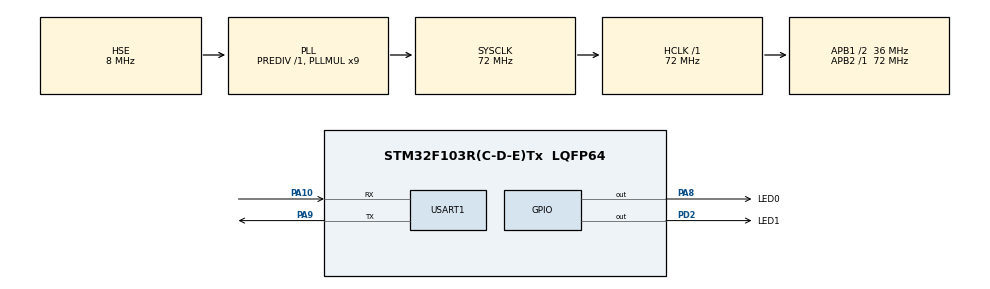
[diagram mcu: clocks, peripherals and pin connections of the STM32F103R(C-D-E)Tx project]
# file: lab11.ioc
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FREERTOS.BinarySemaphores01=bSem01,Dynamic,NULL
FREERTOS.CountingSemaphores01=cSemEmpty,4,Dynamic,NULL;cSemFilled,2,Dynamic,NULL
FREERTOS.Tasks01=periodic,0,128,PeriodicTask,Default,NULL,Dynamic,NULL,NULL;handle,-3,128,HandleTask,Default,NULL,Dynamic,NULL,NULL;Producer,0,128,FuncProducer,Default,NULL,Dynamic,NULL,NULL;Consumer,-1,128,FuncConsumer,Default,NULL,Dynamic,NULL,NULL
FREERTOS.configTOTAL_HEAP_SIZE=4096
FREERTOS.configUSE_COUNTING_SEMAPHORES=1
FREERTOS.configUSE_NEWLIB_REENTRANT=1
Mcu.Family=STM32F1
Mcu.Name=STM32F103R(C-D-E)Tx
Mcu.Package=LQFP64
NVIC.PriorityGroup=NVIC_PRIORITYGROUP_4
NVIC.TIM3_IRQn=true\:15\:0\:false\:false\:true\:false\:false\:true
NVIC.TimeBase=TIM3_IRQn
NVIC.TimeBaseIP=TIM3
PA10.Mode=Asynchronous
PA10.Signal=USART1_RX
PA13.Mode=Serial_Wire
PA13.Signal=SYS_JTMS-SWDIO
PA14.Mode=Serial_Wire
PA14.Signal=SYS_JTCK-SWCLK
PA8.GPIO_Label=LED0
PA8.Signal=GPIO_Output
PA9.Mode=Asynchronous
PA9.Signal=USART1_TX
PD0-OSC_IN.Mode=HSE-External-Oscillator
PD0-OSC_IN.Signal=RCC_OSC_IN
PD1-OSC_OUT.Mode=HSE-External-Oscillator
PD1-OSC_OUT.Signal=RCC_OSC_OUT
PD2.GPIO_Label=LED1
PD2.Signal=GPIO_Output
ProjectManager.HeapSize=0x200
ProjectManager.StackSize=0x400
ProjectManager.TargetToolchain=STM32CubeIDE
RCC.AHBFreq_Value=72000000
RCC.APB1CLKDivider=RCC_HCLK_DIV2
RCC.APB1Freq_Value=36000000
RCC.APB1TimFreq_Value=72000000
RCC.APB2Freq_Value=72000000
RCC.APB2TimFreq_Value=72000000
RCC.HCLKFreq_Value=72000000
RCC.PLLMUL=RCC_PLL_MUL9
RCC.PLLSourceVirtual=RCC_PLLSOURCE_HSE
RCC.SYSCLKFreq_VALUE=72000000
RCC.SYSCLKSource=RCC_SYSCLKSOURCE_PLLCLK
RCC.USBFreq_Value=72000000
USART1.VirtualMode=VM_ASYNC
VP_FREERTOS_VS_CMSIS_V1.Mode=CMSIS_V1
VP_SYS_VS_tim3.Mode=TIM3
board=custom

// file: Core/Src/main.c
/* USER CODE BEGIN Header */
/**
  ******************************************************************************
  * @file           : main.c
  * @brief          : Main program body
  ******************************************************************************
  * @attention
  *
  * <h2><center>&copy; Copyright (c) 2021 STMicroelectronics.
  * All rights reserved.</center></h2>
  *
  * This software component is licensed by ST under BSD 3-Clause license,
  * the "License"; You may not use this file except in compliance with the
  * License. You may obtain a copy of the License at:
  *                        opensource.org/licenses/BSD-3-Clause
  *
  ******************************************************************************
  */
/* USER CODE END Header */
#include "main.h"
#include "cmsis_os.h"

UART_HandleTypeDef huart1;

osThreadId periodicHandle;
osThreadId handleHandle;
osThreadId ProducerHandle;
osThreadId ConsumerHandle;
osSemaphoreId bSem01Handle;
osSemaphoreId cSemEmptyHandle;
osSemaphoreId cSemFilledHandle;

void SystemClock_Config(void);
static void MX_GPIO_Init(void);
static void MX_USART1_UART_Init(void);
void PeriodicTask(void const * argument);
void HandleTask(void const * argument);
void FuncProducer(void const * argument);
void FuncConsumer(void const * argument);

int main(void)
{

  /* MCU Configuration--------------------------------------------------------*/

  /* Reset of all peripherals, Initializes the Flash interface and the Systick. */
  HAL_Init();

  /* Configure the system clock */
  SystemClock_Config();

  /* Initialize all configured peripherals */
  MX_GPIO_Init();
  MX_USART1_UART_Init();

  /* Create the semaphores(s) */
  /* definition and creation of bSem01 */
  osSemaphoreDef(bSem01);
  bSem01Handle = osSemaphoreCreate(osSemaphore(bSem01), 1);

  /* definition and creation of cSemEmpty */
  osSemaphoreDef(cSemEmpty);
  cSemEmptyHandle = osSemaphoreCreate(osSemaphore(cSemEmpty), 4);

  /* definition and creation of cSemFilled */
  osSemaphoreDef(cSemFilled);
  cSemFilledHandle = osSemaphoreCreate(osSemaphore(cSemFilled), 2);

  /* Create the thread(s) */
  /* definition and creation of periodic */
  osThreadDef(periodic, PeriodicTask, osPriorityNormal, 0, 128);
  periodicHandle = osThreadCreate(osThread(periodic), NULL);

  /* definition and creation of handle */
  osThreadDef(handle, HandleTask, osPriorityIdle, 0, 128);
  handleHandle = osThreadCreate(osThread(handle), NULL);

  /* definition and creation of Producer */
  osThreadDef(Producer, FuncProducer, osPriorityNormal, 0, 128);
  ProducerHandle = osThreadCreate(osThread(Producer), NULL);

  /* definition and creation of Consumer */
  osThreadDef(Consumer, FuncConsumer, osPriorityBelowNormal, 0, 128);
  ConsumerHandle = osThreadCreate(osThread(Consumer), NULL);

  /* Start scheduler */
  osKernelStart();

  /* We should never get here as control is now taken by the scheduler */
  /* Infinite loop */
  while (1)
  {

  }
}

void SystemClock_Config(void)
{
  RCC_OscInitTypeDef RCC_OscInitStruct = {0};
  RCC_ClkInitTypeDef RCC_ClkInitStruct = {0};

  /** Initializes the RCC Oscillators according to the specified parameters
  * in the RCC_OscInitTypeDef structure.
  */
  RCC_OscInitStruct.OscillatorType = RCC_OSCILLATORTYPE_HSE;
  RCC_OscInitStruct.HSEState = RCC_HSE_ON;
  RCC_OscInitStruct.HSEPredivValue = RCC_HSE_PREDIV_DIV1;
  RCC_OscInitStruct.HSIState = RCC_HSI_ON;
  RCC_OscInitStruct.PLL.PLLState = RCC_PLL_ON;
  RCC_OscInitStruct.PLL.PLLSource = RCC_PLLSOURCE_HSE;
  RCC_OscInitStruct.PLL.PLLMUL = RCC_PLL_MUL9;
  if (HAL_RCC_OscConfig(&RCC_OscInitStruct) != HAL_OK)
  {
    Error_Handler();
  }
  /** Initializes the CPU, AHB and APB buses clocks
  */
  RCC_ClkInitStruct.ClockType = RCC_CLOCKTYPE_HCLK|RCC_CLOCKTYPE_SYSCLK
                              |RCC_CLOCKTYPE_PCLK1|RCC_CLOCKTYPE_PCLK2;
  RCC_ClkInitStruct.SYSCLKSource = RCC_SYSCLKSOURCE_PLLCLK;
  RCC_ClkInitStruct.AHBCLKDivider = RCC_SYSCLK_DIV1;
  RCC_ClkInitStruct.APB1CLKDivider = RCC_HCLK_DIV2;
  RCC_ClkInitStruct.APB2CLKDivider = RCC_HCLK_DIV1;

  if (HAL_RCC_ClockConfig(&RCC_ClkInitStruct, FLASH_LATENCY_2) != HAL_OK)
  {
    Error_Handler();
  }
}

static void MX_USART1_UART_Init(void)
{

  huart1.Instance = USART1;
  huart1.Init.BaudRate = 115200;
  huart1.Init.WordLength = UART_WORDLENGTH_8B;
  huart1.Init.StopBits = UART_STOPBITS_1;
  huart1.Init.Parity = UART_PARITY_NONE;
  huart1.Init.Mode = UART_MODE_TX_RX;
  huart1.Init.HwFlowCtl = UART_HWCONTROL_NONE;
  huart1.Init.OverSampling = UART_OVERSAMPLING_16;
  if (HAL_UART_Init(&huart1) != HAL_OK)
  {
    Error_Handler();
  }

}

static void MX_GPIO_Init(void)
{
  GPIO_InitTypeDef GPIO_InitStruct = {0};

  /* GPIO Ports Clock Enable */
  __HAL_RCC_GPIOD_CLK_ENABLE();
  __HAL_RCC_GPIOA_CLK_ENABLE();

  /*Configure GPIO pin Output Level */
  HAL_GPIO_WritePin(LED0_GPIO_Port, LED0_Pin, GPIO_PIN_RESET);

  /*Configure GPIO pin Output Level */
  HAL_GPIO_WritePin(LED1_GPIO_Port, LED1_Pin, GPIO_PIN_RESET);

  /*Configure GPIO pin : LED0_Pin */
  GPIO_InitStruct.Pin = LED0_Pin;
  GPIO_InitStruct.Mode = GPIO_MODE_OUTPUT_PP;
  GPIO_InitStruct.Pull = GPIO_NOPULL;
  GPIO_InitStruct.Speed = GPIO_SPEED_FREQ_LOW;
  HAL_GPIO_Init(LED0_GPIO_Port, &GPIO_InitStruct);

  /*Configure GPIO pin : LED1_Pin */
  GPIO_InitStruct.Pin = LED1_Pin;
  GPIO_InitStruct.Mode = GPIO_MODE_OUTPUT_PP;
  GPIO_InitStruct.Pull = GPIO_NOPULL;
  GPIO_InitStruct.Speed = GPIO_SPEED_FREQ_LOW;
  HAL_GPIO_Init(LED1_GPIO_Port, &GPIO_InitStruct);

}

void PeriodicTask(void const * argument)
{
  /* USER CODE BEGIN 5 */
  /* Infinite loop */
  for(;;)
  {
    osDelay(1000);
    osSemaphoreRelease(bSem01Handle);
  }
  /* USER CODE END 5 */
}

void HandleTask(void const * argument)
{
  /* USER CODE BEGIN HandleTask */
  /* Infinite loop */
  for(;;)
  {
    osSemaphoreWait(bSem01Handle, osWaitForever);
    HAL_GPIO_TogglePin(LED0_GPIO_Port, LED0_Pin);
    HAL_GPIO_TogglePin(LED1_GPIO_Port, LED1_Pin);
  }
  /* USER CODE END HandleTask */
}

void FuncProducer(void const * argument)
{
  /* USER CODE BEGIN FuncProducer */
  char msg[30];
  /* Infinite loop */
  for(;;)
  {
	  osSemaphoreWait(cSemEmptyHandle, osWaitForever);
	  sprintf(msg, "Producer produce data\r\n");
	  HAL_UART_Transmit(&huart1, (uint8_t*)msg, strlen(msg), HAL_MAX_DELAY);
	  HAL_Delay(100);
	  osSemaphoreRelease(cSemFilledHandle);
  }
  /* USER CODE END FuncProducer */
}

void FuncConsumer(void const * argument)
{
  /* USER CODE BEGIN FuncConsumer */
  char msg[30];
  /* Infinite loop */
  for(;;)
  {
	  osSemaphoreWait(cSemFilledHandle, osWaitForever);
	  sprintf(msg, "Consumer consume data\r\n");
	  HAL_UART_Transmit(&huart1, (uint8_t*)msg, strlen(msg), HAL_MAX_DELAY);
	  HAL_Delay(400);
	  osSemaphoreRelease(cSemEmptyHandle);
  }
  /* USER CODE END FuncConsumer */
}

void HAL_TIM_PeriodElapsedCallback(TIM_HandleTypeDef *htim)
{
  if (htim->Instance == TIM3) {
    HAL_IncTick();
  }
}

void Error_Handler(void)
{
  __disable_irq();
  while (1)
  {
  }
}

/************************ (C) COPYRIGHT STMicroelectronics *****END OF FILE****/
